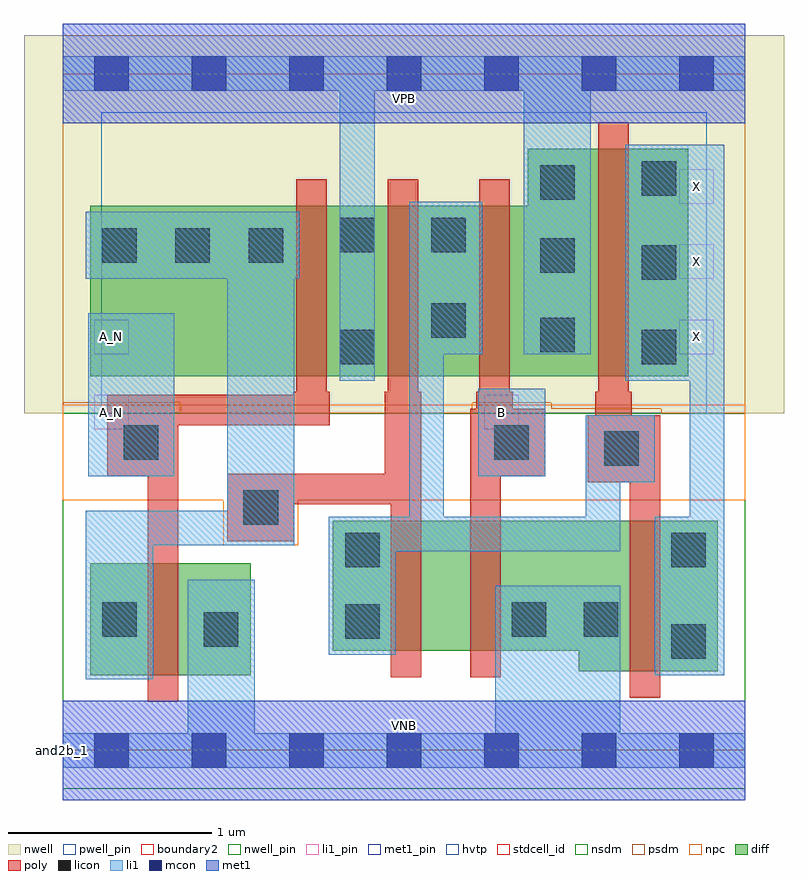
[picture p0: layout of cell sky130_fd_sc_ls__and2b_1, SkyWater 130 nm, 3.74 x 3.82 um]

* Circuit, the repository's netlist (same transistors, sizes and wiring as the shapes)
* Copyright 2020 The SkyWater PDK Authors
*
* Licensed under the Apache License, Version 2.0 (the "License");
* you may not use this file except in compliance with the License.
* You may obtain a copy of the License at
*
*     https://www.apache.org/licenses/LICENSE-2.0
*
* Unless required by applicable law or agreed to in writing, software
* distributed under the License is distributed on an "AS IS" BASIS,
* WITHOUT WARRANTIES OR CONDITIONS OF ANY KIND, either express or implied.
* See the License for the specific language governing permissions and
* limitations under the License.
*
* SPDX-License-Identifier: Apache-2.0

.SUBCKT sky130_fd_sc_ls__and2b_1 A_N B VGND VNB VPB VPWR X
*.PININFO A_N:I B:I VGND:I VNB:I VPB:I VPWR:I X:O
MMP0 y A VPWR VPB sky130_fd_pr__pfet_01v8_hvt m=1 w=0.84U l=0.15U mult=1 sa=0.265
+ sb=0.265 sd=0.28 area=0.063 perim=1.14
MMP1 y B VPWR VPB sky130_fd_pr__pfet_01v8_hvt m=1 w=0.84U l=0.15U mult=1 sa=0.265
+ sb=0.265 sd=0.28 area=0.063 perim=1.14
MMIP0 A A_N VPWR VPB sky130_fd_pr__pfet_01v8_hvt m=1 w=0.84U l=0.15U mult=1 sa=0.265
+ sb=0.265 sd=0.28 area=0.063 perim=1.14
MMIP1 X y VPWR VPB sky130_fd_pr__pfet_01v8_hvt m=1 w=1.12U l=0.15U mult=1 sa=0.265
+ sb=0.265 sd=0.28 area=0.063 perim=1.14
MMN0 y A sndA VNB sky130_fd_pr__nfet_01v8 m=1 w=0.64U l=0.15U mult=1 sa=0.265 sb=0.265
+ sd=0.28 area=0.063 perim=1.14
MMN1 sndA B VGND VNB sky130_fd_pr__nfet_01v8 m=1 w=0.64U l=0.15U mult=1 sa=0.265
+ sb=0.265 sd=0.28 area=0.063 perim=1.14
MMIN0 A A_N VGND VNB sky130_fd_pr__nfet_01v8 m=1 w=0.55U l=0.15U mult=1 sa=0.265
+ sb=0.265 sd=0.28 area=0.063 perim=1.14
MMIN1 X y VGND VNB sky130_fd_pr__nfet_01v8 m=1 w=0.74U l=0.15U mult=1 sa=0.265
+ sb=0.265 sd=0.28 area=0.063 perim=1.14
.ENDS sky130_fd_sc_ls__and2b_1

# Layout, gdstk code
import gdstk
lib = gdstk.Library(unit=1e-6, precision=1e-09)
def R(c, l, rs):  # rectangles x0, y0, x1, y1
    for r in rs: c.add(gdstk.rectangle(r[:2], r[2:], *l))
def A(c, l, x, y, w, h, nx, ny, dx, dy):  # array of equal rectangles
    R(c, l, [(x+i*dx, y+j*dy, x+i*dx+w, y+j*dy+h) for i in range(nx) for j in range(ny)])
def P(c, l, *ps):  # polygons
    for p in ps: c.add(gdstk.Polygon(p, *l))
nwell_pin = (64, 16)
nwell = (64, 20)
diff = (65, 20)
poly = (66, 20)
licon = (66, 44)
li1_pin = (67, 16)
li1 = (67, 20)
mcon = (67, 44)
met1_pin = (68, 16)
met1 = (68, 20)
hvtp = (78, 44)
stdcell_id = (81, 4)
nsdm = (93, 44)
psdm = (94, 20)
npc = (95, 20)
pwell_pin = (122, 16)
boundary2 = (236, 0)

sky130_fd_sc_ls__and2b_1 = lib.new_cell('sky130_fd_sc_ls__and2b_1')
R(sky130_fd_sc_ls__and2b_1, nwell_pin, [(0,3.085,3.36,3.33)])
R(sky130_fd_sc_ls__and2b_1, nwell, [(-0.19,1.66,3.55,3.52)])
R(sky130_fd_sc_ls__and2b_1, diff, [(0.135,0.37,0.925,0.92)])
P(sky130_fd_sc_ls__and2b_1, diff, [(3.08,2.96),(2.29,2.96),(2.29,2.68),(0.135,2.68),(0.135,1.84),(3.08,1.84)],
  [(3.225,1.13),(1.33,1.13),(1.33,0.49),(2.54,0.49),(2.54,0.39),(3.225,0.39)])
P(sky130_fd_sc_ls__and2b_1, poly, [(2.94,1.65),(2.8,1.65),(2.8,1.765),(2.785,1.765),(2.785,3.09),(2.635,3.09),(2.635,1.765),(2.62,1.765),(2.62,1.65),(2.585,1.65),(2.585,1.32),(2.79,1.32),(2.79,0.26),(2.94,0.26)],
  [(2.375,1.68),(2.215,1.68),(2.215,1.765),(2.2,1.765),(2.2,2.81),(2.05,2.81),(2.05,1.765),(2.035,1.765),(2.035,1.68),(2.005,1.68),(2.005,0.36),(2.155,0.36),(2.155,1.35),(2.375,1.35)],
  [(1.765,1.765),(1.75,1.765),(1.75,2.81),(1.6,2.81),(1.6,1.765),(1.585,1.765),(1.585,1.36),(0.81,1.36),(0.81,1.03),(1.14,1.03),(1.14,1.21),(1.615,1.21),(1.615,0.36),(1.765,0.36)],
  [(1.315,1.765),(1.3,1.765),(1.3,2.81),(1.15,2.81),(1.15,1.765),(1.135,1.765),(1.135,1.75),(0.22,1.75),(0.22,1.35),(0.42,1.35),(0.42,0.24),(0.57,0.24),(0.57,1.6),(1.315,1.6)])
A(sky130_fd_sc_ls__and2b_1, licon, 2.85, 1.9, 0.17, 0.17, 1, 3, 0, 0.415)
A(sky130_fd_sc_ls__and2b_1, licon, 0.195, 2.4, 0.17, 0.17, 3, 1, 0.36, 0)
R(sky130_fd_sc_ls__and2b_1, licon, [(2.995,0.45,3.165,0.62), (0.695,0.51,0.865,0.68), (1.39,0.55,1.56,0.72), (0.195,0.56,0.365,0.73), (2.21,0.56,2.38,0.73), (2.565,0.56,2.735,0.73), (1.39,0.9,1.56,1.07), (2.995,0.9,3.165,1.07), (0.89,1.11,1.06,1.28), (2.665,1.4,2.835,1.57), (0.3,1.43,0.47,1.6), (2.125,1.43,2.295,1.6), (1.365,1.9,1.535,2.07), (2.35,1.96,2.52,2.13), (1.815,2.03,1.985,2.2), (2.35,2.35,2.52,2.52), (1.365,2.45,1.535,2.62), (1.815,2.45,1.985,2.62), (2.35,2.71,2.52,2.88)])
A(sky130_fd_sc_ls__and2b_1, li1_pin, 3.035, 1.95, 0.17, 0.17, 1, 3, 0, 0.37)
R(sky130_fd_sc_ls__and2b_1, li1_pin, [(0.155,1.58,0.325,1.75), (2.075,1.58,2.245,1.75), (0.155,1.95,0.325,2.12)])
R(sky130_fd_sc_ls__and2b_1, li1, [(0.125,1.35,0.55,2.15), (2.045,1.35,2.375,1.78)])
P(sky130_fd_sc_ls__and2b_1, li1, [(0,-0.085),(0,0.085),(0.615,0.085),(0.615,0.84),(0.945,0.84),(0.945,0.085),(2.13,0.085),(2.13,0.81),(2.745,0.81),(2.745,0.085),(3.36,0.085),(3.36,-0.085)],
  [(0,3.245),(0,3.415),(3.36,3.415),(3.36,3.245),(2.6,3.245),(2.6,1.95),(2.27,1.95),(2.27,3.245),(1.535,3.245),(1.535,1.82),(1.365,1.82),(1.365,3.245)],
  [(2.77,1.82),(2.77,2.98),(3.255,2.98),(3.255,0.37),(2.915,0.37),(2.915,1.15),(3.085,1.15),(3.085,1.82)],
  [(1.705,1.15),(1.705,2.7),(2.065,2.7),(2.065,1.95),(1.875,1.95),(1.875,1.15),(2.575,1.15),(2.575,1.65),(2.915,1.65),(2.915,1.32),(2.745,1.32),(2.745,0.98),(1.64,0.98),(1.64,0.47),(1.31,0.47),(1.31,1.15)],
  [(0.81,1.18),(0.81,2.32),(0.115,2.32),(0.115,2.65),(1.165,2.65),(1.165,2.32),(1.14,2.32),(1.14,1.01),(0.445,1.01),(0.445,0.35),(0.115,0.35),(0.115,1.18)])
A(sky130_fd_sc_ls__and2b_1, mcon, 0.155, -0.085, 0.17, 0.17, 7, 2, 0.48, 3.33)
R(sky130_fd_sc_ls__and2b_1, met1_pin, [(0,0,3.36,0.245), (0,3.085,3.36,3.33)])
R(sky130_fd_sc_ls__and2b_1, met1, [(0,-0.245,3.36,0.245), (0,3.085,3.36,3.575)])
R(sky130_fd_sc_ls__and2b_1, hvtp, [(0.19,1.66,3.17,3.14)])
R(sky130_fd_sc_ls__and2b_1, stdcell_id, [(0,0,3.36,3.33)])
R(sky130_fd_sc_ls__and2b_1, nsdm, [(0,-0.19,3.36,1.66)])
P(sky130_fd_sc_ls__and2b_1, psdm, [(3.36,3.52),(0,3.52),(0,1.71),(0.58,1.71),(0.58,1.66),(2.015,1.66),(2.015,1.71),(2.405,1.71),(2.405,1.68),(2.945,1.68),(2.945,1.66),(3.36,1.66)])
P(sky130_fd_sc_ls__and2b_1, npc, [(3.36,1.7),(0,1.7),(0,1.23),(0.79,1.23),(0.79,1.01),(1.16,1.01),(1.16,1.23),(3.36,1.23)])
R(sky130_fd_sc_ls__and2b_1, pwell_pin, [(0,0,3.36,0.245)])
R(sky130_fd_sc_ls__and2b_1, boundary2, [(0,0,3.36,3.33)])
sky130_fd_sc_ls__and2b_1.add(gdstk.Label('and2b_1', (0,0), layer=83, texttype=44))
sky130_fd_sc_ls__and2b_1.add(gdstk.Label('VNB', (1.68,0.123), layer=64, texttype=59))
sky130_fd_sc_ls__and2b_1.add(gdstk.Label('VPB', (1.68,3.208), layer=64, texttype=5))
sky130_fd_sc_ls__and2b_1.add(gdstk.Label('VPWR', (1.68,3.208), layer=68, texttype=5))
sky130_fd_sc_ls__and2b_1.add(gdstk.Label('VGND', (1.68,0.123), layer=68, texttype=5))
sky130_fd_sc_ls__and2b_1.add(gdstk.Label('B', (2.16,1.665), layer=67, texttype=5))
sky130_fd_sc_ls__and2b_1.add(gdstk.Label('A_N', (0.24,1.665), layer=67, texttype=5))
sky130_fd_sc_ls__and2b_1.add(gdstk.Label('A_N', (0.24,2.035), layer=67, texttype=5))
sky130_fd_sc_ls__and2b_1.add(gdstk.Label('X', (3.12,2.035), layer=67, texttype=5))
sky130_fd_sc_ls__and2b_1.add(gdstk.Label('X', (3.12,2.405), layer=67, texttype=5))
sky130_fd_sc_ls__and2b_1.add(gdstk.Label('X', (3.12,2.775), layer=67, texttype=5))

lib.write_gds('sky130_fd_sc_ls__and2b_1.gds')
